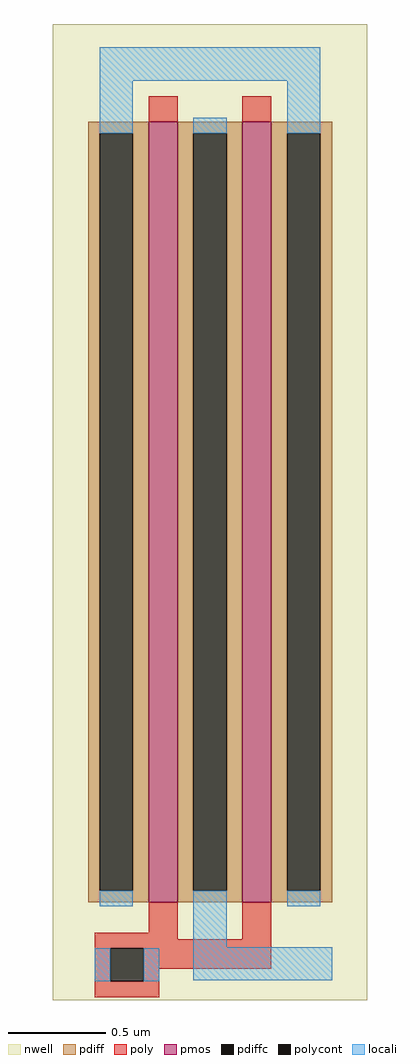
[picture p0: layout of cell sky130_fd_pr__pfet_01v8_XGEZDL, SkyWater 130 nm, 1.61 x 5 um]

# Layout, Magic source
magic
tech sky130A
magscale 1 2
<< nwell >>
rect -161 -500 161 500
<< pmos >>
rect -63 -400 -33 400
rect 33 -400 63 400
<< pdiff >>
rect -125 388 -63 400
rect -125 -388 -113 388
rect -79 -388 -63 388
rect -125 -400 -63 -388
rect -33 388 33 400
rect -33 -388 -17 388
rect 17 -388 33 388
rect -33 -400 33 -388
rect 63 388 125 400
rect 63 -388 79 388
rect 113 -388 125 388
rect 63 -400 125 -388
<< pdiffc >>
rect -113 -388 -79 388
rect -17 -388 17 388
rect 79 -388 113 388
<< poly >>
rect -63 400 -33 426
rect 33 400 63 426
rect -63 -431 -33 -400
rect -118 -438 -33 -431
rect 33 -438 63 -400
rect -118 -447 63 -438
rect -118 -481 -102 -447
rect -68 -468 63 -447
rect -68 -481 -52 -468
rect -118 -497 -52 -481
<< polycont >>
rect -102 -481 -68 -447
<< locali >>
rect -113 442 113 476
rect -113 388 -79 442
rect -113 -404 -79 -388
rect -17 388 17 404
rect -17 -446 17 -388
rect 79 388 113 442
rect 79 -404 113 -388
rect -118 -481 -102 -447
rect -68 -481 -52 -447
rect -17 -480 125 -446
<< properties >>
string gencell sky130_fd_pr__pfet_01v8
string library sky130
string parameters w 4.0 l 0.15 m 1 nf 2 diffcov 100 polycov 100 guard 0 glc 1 grc 1 gtc 1 gbc 1 tbcov 100 rlcov 100 topc 1 botc 1 poverlap 0 doverlap 1 lmin 0.15 wmin 0.42 compatible {sky130_fd_pr__pfet_01v8  sky130_fd_pr__pfet_01v8_lvt sky130_fd_pr__pfet_01v8_hvt  sky130_fd_pr__pfet_g5v0d10v5} full_metal 1 viasrc 100 viadrn 100 viagate 100 viagb 0 viagr 0 viagl 0 viagt 0
<< end >>
